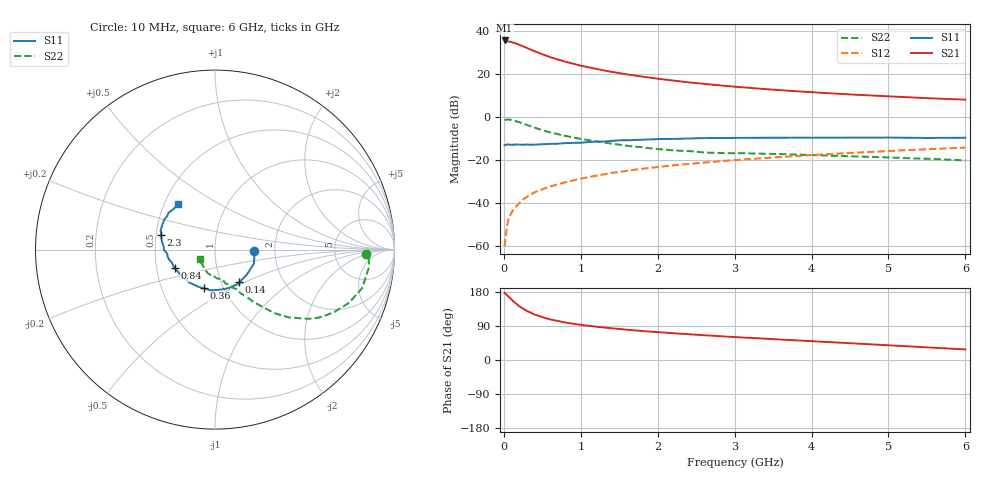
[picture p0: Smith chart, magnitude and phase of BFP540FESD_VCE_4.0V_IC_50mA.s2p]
! Infineon Technologies  Discrete & RF Semiconductors
! BFP540FESD
! VCE =  4.0 V,  IC =  50 mA
! Common Emitter S-Parameters:  Nov 2015
# GHz  S  MA  R  50
!  f  S11  S21  S12  S22
! GHz  MAG  ANG  MAG  ANG  MAG  ANG  MAG  ANG
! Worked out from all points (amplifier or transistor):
!   210 points, 10 MHz to 6 GHz, reference 50 ohm
!   highest |S21| = 35.4 dB at 10 MHz (marker M1)
!   |S21| within 3 dB of that: start of sweep to 267.1 MHz
!   unconditionally stable (mu >= 1): start of sweep to 34.41 MHz; 1.255 GHz to end of sweep
!   at 185 MHz: K = 0.56, MSG = 37.1 dB, |S12| = -40.6 dB
!   at 1.52 GHz: K = 1.03, MAG = 21.8 dB, |S12| = -25.5 dB
!   at 6 GHz: K = 1.16, MAG = 8.7 dB, |S12| = -14.3 dB
!   S11 on the Smith chart (normalised r, x): 10 MHz: 1.56, -0.02; 140 MHz: 1.21, -0.47; 360 MHz: 0.81, -0.37; 840 MHz: 0.62, -0.14; 2.3 GHz: 0.53, +0.10; 6 GHz: 0.59, +0.33
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0.01  0.219 -1.6  58.87 176.8  0.001 82.6  0.8409 -1.5
0.02  0.2216 -8.8  56.99 175.4  0.0014 72.5  0.852 -0.4
0.05  0.2305 -19.4  56.52 169.4  0.0036 73.2  0.8649 -6.1
0.1  0.2259 -38.5  53.95 159.2  0.006 74.8  0.848 -14.6
0.14  0.2266 -53.5  51.4 152.1  0.0075 72.8  0.8117 -20.1
0.2  0.2275 -71.3  46.86 141.9  0.0099 71.1  0.7486 -27.8
0.24  0.2249 -81.0  43.68 136.6  0.0117 70.3  0.7082 -31.7
0.3  0.2282 -96.0  39.35 129.2  0.014 71.4  0.6472 -36.6
0.36  0.2248 -106.4  35.44 124.0  0.0163 70.2  0.5937 -39.9
0.4  0.2268 -113.4  33.02 119.9  0.0178 69.6  0.5593 -42.5
0.5  0.2322 -127.3  28.15 112.8  0.0208 70.5  0.4875 -46.7
0.6  0.2356 -137.2  24.23 107.3  0.0242 70.1  0.4346 -49.3
0.7  0.2376 -145.3  21.31 102.8  0.027 71.4  0.3951 -51.4
0.84  0.2467 -155.5  18.1 97.7  0.0316 70.3  0.3471 -54.4
1.02  0.2522 -163.9  15.06 92.3  0.0373 70.2  0.3031 -57.2
1.5  0.2847 -179.4  10.28 81.6  0.0523 68.9  0.2265 -66.1
2.02  0.3047 168.6  7.557 73.1  0.069 65.4  0.1783 -77.8
2.3  0.3108 164.5  6.598 69.3  0.0775 63.9  0.1632 -83.3
3.1  0.3247 154.9  4.827 59.5  0.102 58.7  0.1425 -100.3
4.1  0.3269 148.1  3.623 48.6  0.1327 52.4  0.1282 -114.0
5.1  0.3283 140.2  2.925 37.7  0.1644 44.4  0.1122 -126.8
6  0.3264 129.4  2.496 27.9  0.1927 36.9  0.0974 -146.2
